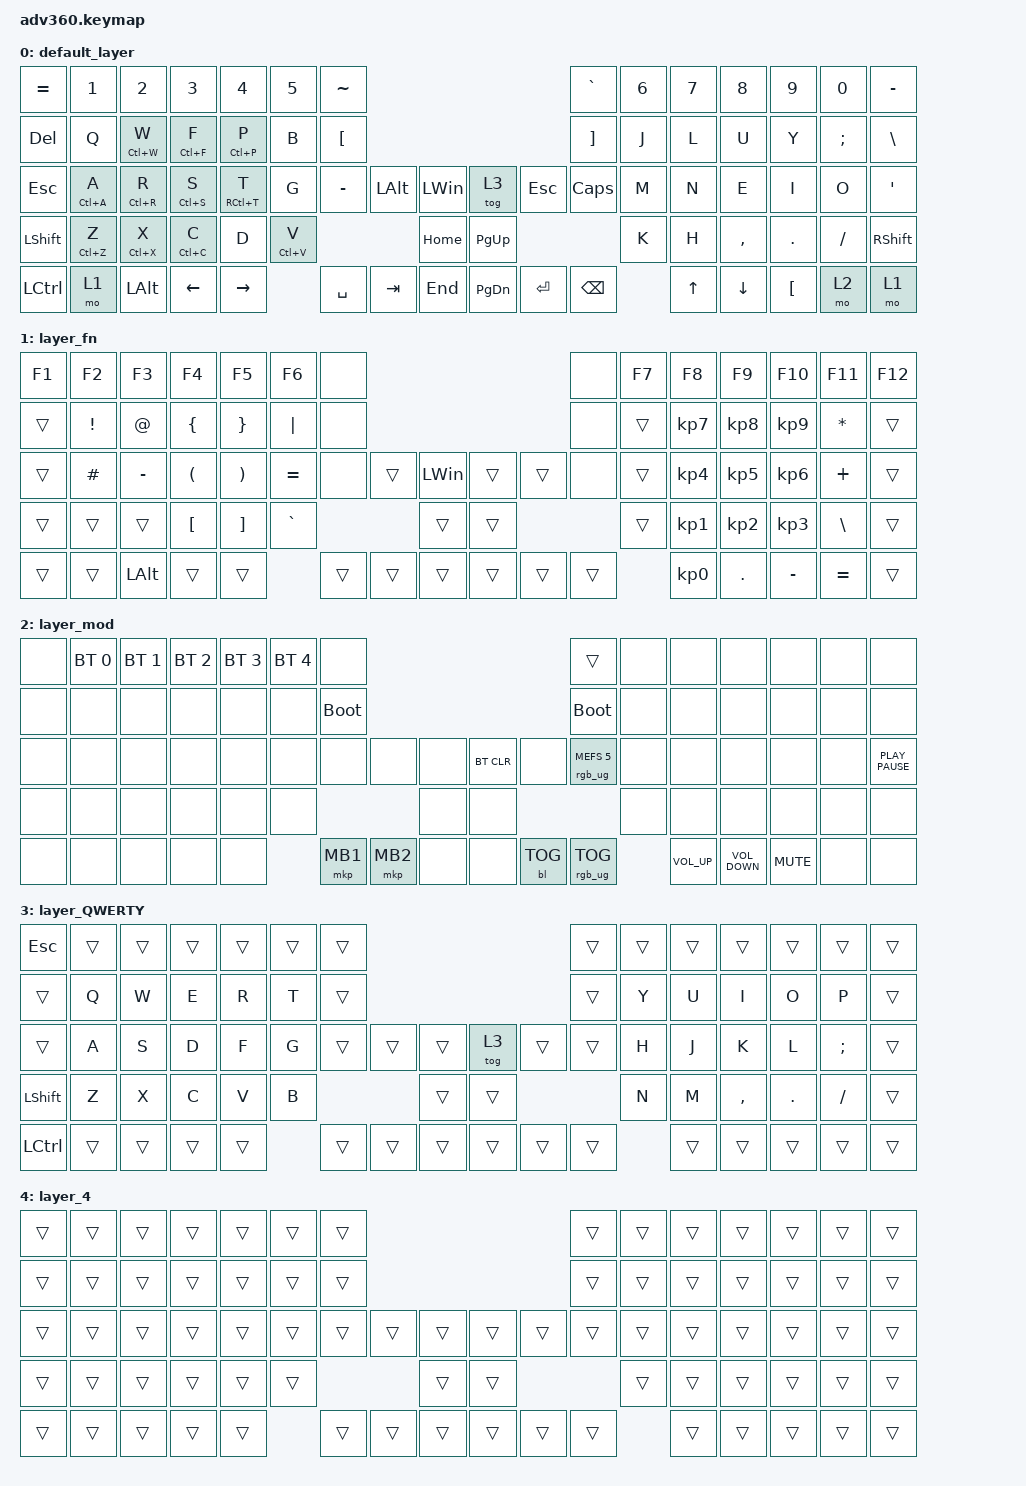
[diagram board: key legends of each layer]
/*
 * Copyright (c) 2020 The ZMK Contributors
 *
 * SPDX-License-Identifier: MIT
 */
/* THIS FILE WAS GENERATED!
 *
 * This file was generated automatically. You may or may not want to
 * edit it directly.
 */

#include <behaviors.dtsi>
#include <dt-bindings/zmk/backlight.h>
#include <dt-bindings/zmk/bt.h>
#include <dt-bindings/zmk/keys.h>
#include <dt-bindings/zmk/mouse.h>
#include <dt-bindings/zmk/rgb.h>

&mt {
    tapping-term-ms = <400>;
    flavor = "tap-preferred";
};

/ {
    behaviors {
        #include "macros.dtsi"
        #include "version.dtsi"
    };

    keymap {
        compatible = "zmk,keymap";

        default_layer {
            bindings = <
&kp EQUAL   &kp N1       &kp N2        &kp N3       &kp N4       &kp N5       &kp TILDE                                                                &kp GRAVE          &kp N6  &kp N7  &kp N8     &kp N9    &kp N0    &kp MINUS
&kp DELETE  &kp Q        &mt LC(W) W   &mt LC(F) F  &mt LC(P) P  &kp B        &kp LEFT_BRACKET                                                         &kp RIGHT_BRACKET  &kp J   &kp L   &kp U      &kp Y     &kp SEMI  &kp BSLH
&kp ESC     &mt LC(A) A  &mt LC(R) R   &mt LC(S) S  &mt RC(T) T  &kp G        &kp MINUS         &kp LEFT_ALT  &kp LEFT_WIN      &tog 3     &kp ESCAPE  &kp CAPSLOCK       &kp M   &kp N   &kp E      &kp I     &kp O     &kp SQT
&kp LSHFT   &mt LC(Z) Z  &mt LC(X) X   &mt LC(C) C  &kp D        &mt LC(V) V                                  &kp HOME          &kp PG_UP                                 &kp K   &kp H   &kp COMMA  &kp DOT   &kp FSLH  &kp RSHFT
&kp LCTRL   &mo 1        &kp LEFT_ALT  &kp LEFT     &kp RIGHT                 &kp SPACE         &kp TAB       &kp END           &kp PG_DN  &kp ENTER   &kp BACKSPACE              &kp UP  &kp DOWN   &kp LBKT  &mo 2     &mo 1
            >;
        };

        layer_fn {
            bindings = <
&kp F1  &kp F2           &kp F3        &kp F4                &kp F5                 &kp F6     &none                                             &none   &kp F7  &kp F8           &kp F9           &kp F10          &kp F11       &kp F12
&trans  &kp EXCLAMATION  &kp AT        &kp LEFT_BRACE        &kp RIGHT_BRACE        &kp PIPE   &none                                             &none   &trans  &kp KP_NUMBER_7  &kp KP_NUMBER_8  &kp KP_NUMBER_9  &kp ASTERISK  &trans
&trans  &kp HASH         &kp MINUS     &kp LEFT_PARENTHESIS  &kp RIGHT_PARENTHESIS  &kp EQUAL  &none   &trans  &kp LEFT_WIN      &trans  &trans  &none   &trans  &kp KP_NUMBER_4  &kp KP_NUMBER_5  &kp KP_NUMBER_6  &kp PLUS      &trans
&trans  &trans           &trans        &kp LEFT_BRACKET      &kp RIGHT_BRACKET      &kp GRAVE                  &trans            &trans                  &trans  &kp KP_NUMBER_1  &kp KP_NUMBER_2  &kp KP_NUMBER_3  &kp BSLH      &trans
&trans  &trans           &kp LEFT_ALT  &trans                &trans                            &trans  &trans  &trans            &trans  &trans  &trans          &kp KP_NUMBER_0  &kp PERIOD       &kp MINUS        &kp EQUAL     &trans
            >;
        };

        layer_mod {
            bindings = <
&none  &bt BT_SEL 0  &bt BT_SEL 1  &bt BT_SEL 2  &bt BT_SEL 3  &bt BT_SEL 4  &none                                                     &trans                  &none  &none            &none              &none       &none  &none
&none  &none         &none         &none         &none         &none         &bootloader                                               &bootloader             &none  &none            &none              &none       &none  &none
&none  &none         &none         &none         &none         &none         &none        &none     &none      &bt BT_CLR  &none       &rgb_ug RGB_MEFS_CMD 5  &none  &none            &none              &none       &none  &kp K_PLAY_PAUSE
&none  &none         &none         &none         &none         &none                                &none      &none                                           &none  &none            &none              &none       &none  &none
&none  &none         &none         &none         &none                       &mkp MB1     &mkp MB2  &none      &none       &bl BL_TOG  &rgb_ug RGB_TOG                &kp C_VOLUME_UP  &kp C_VOLUME_DOWN  &kp C_MUTE  &none  &none
            >;
        };

        layer_QWERTY {
            bindings = <
&kp ESC    &trans  &trans  &trans  &trans  &trans  &trans                                      &trans  &trans  &trans  &trans     &trans      &trans    &trans
&trans     &kp Q   &kp W   &kp E   &kp R   &kp T   &trans                                      &trans  &kp Y   &kp U   &kp I      &kp O       &kp P     &trans
&trans     &kp A   &kp S   &kp D   &kp F   &kp G   &trans  &trans  &trans      &tog 3  &trans  &trans  &kp H   &kp J   &kp K      &kp L       &kp SEMI  &trans
&kp LSHFT  &kp Z   &kp X   &kp C   &kp V   &kp B                   &trans      &trans                  &kp N   &kp M   &kp COMMA  &kp PERIOD  &kp FSLH  &trans
&kp LCTRL  &trans  &trans  &trans  &trans          &trans  &trans  &trans      &trans  &trans  &trans          &trans  &trans     &trans      &trans    &trans
            >;
        };

        layer_4 {
            bindings = <
&trans  &trans  &trans  &trans  &trans  &trans  &trans                                      &trans  &trans  &trans  &trans  &trans  &trans  &trans
&trans  &trans  &trans  &trans  &trans  &trans  &trans                                      &trans  &trans  &trans  &trans  &trans  &trans  &trans
&trans  &trans  &trans  &trans  &trans  &trans  &trans  &trans  &trans      &trans  &trans  &trans  &trans  &trans  &trans  &trans  &trans  &trans
&trans  &trans  &trans  &trans  &trans  &trans                  &trans      &trans                  &trans  &trans  &trans  &trans  &trans  &trans
&trans  &trans  &trans  &trans  &trans          &trans  &trans  &trans      &trans  &trans  &trans          &trans  &trans  &trans  &trans  &trans
            >;
        };
    };
};
